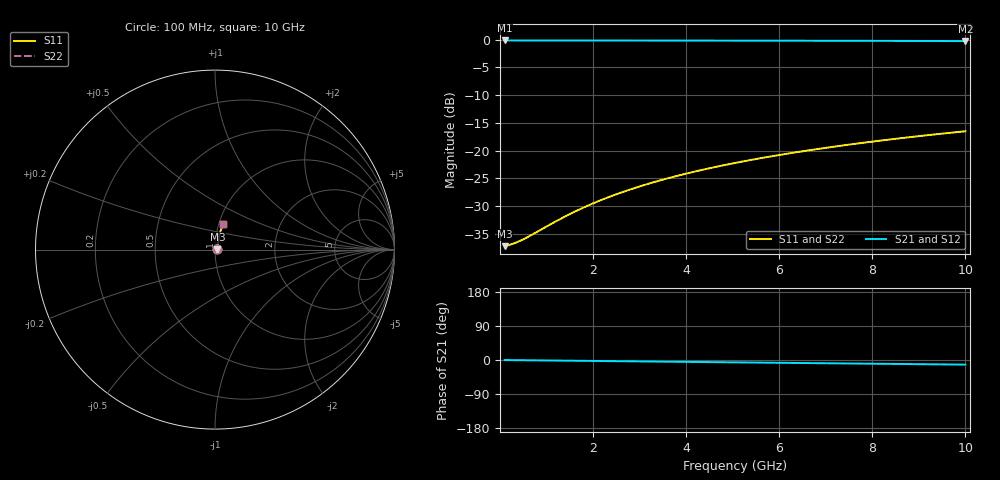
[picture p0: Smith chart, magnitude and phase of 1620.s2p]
# Hz S RI R 50.00
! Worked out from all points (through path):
!   100 points, 100 MHz to 10 GHz, reference 50 ohm
!   highest |S21| = -0.12 dB at 100 MHz (marker M1); lowest = -0.2 dB at 10 GHz (marker M2)
!   group delay of S21, straight-line fit = 3.39 ps
!   lowest |S11| = -37.3 dB at 100 MHz (marker M3), VSWR 1.03, Z = 51.4 + j0.152 ohm
!   |S11| at or under -10 dB: start of sweep to end of sweep
!   |S22| runs from -37.3 to -16.5 dB; largest |S21 - S12| = 0
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1e8  0.0136 0.00148  0.9864 -0.00212  0.9864 -0.00212  0.0136 0.00148
2e8  0.0137 0.00296  0.9863 -0.00423  0.9863 -0.00423  0.0137 0.00296
3e8  0.0138 0.00444  0.9862 -0.00635  0.9862 -0.00635  0.0138 0.00444
5e8  0.0139 0.00739  0.9861 -0.0106  0.9861 -0.0106  0.0139 0.00739
7e8  0.0141 0.0103  0.9859 -0.0148  0.9859 -0.0148  0.0141 0.0103
1.3e9  0.0146 0.0192  0.9853 -0.0275  0.9853 -0.0275  0.0146 0.0192
1.6e9  0.015 0.0236  0.985 -0.0338  0.985 -0.0338  0.015 0.0236
1.8e9  0.0152 0.0266  0.9847 -0.038  0.9847 -0.038  0.0152 0.0266
2.1e9  0.0156 0.031  0.9843 -0.0444  0.9843 -0.0444  0.0156 0.031
2.5e9  0.0163 0.0368  0.9836 -0.0528  0.9836 -0.0528  0.0163 0.0368
2.9e9  0.017 0.0427  0.9828 -0.0612  0.9828 -0.0612  0.017 0.0427
3.4e9  0.0181 0.05  0.9817 -0.0717  0.9817 -0.0717  0.0181 0.05
3.8e9  0.019 0.0558  0.9807 -0.08  0.9807 -0.08  0.019 0.0558
4.2e9  0.0201 0.0616  0.9795 -0.0884  0.9795 -0.0884  0.0201 0.0616
4.6e9  0.0212 0.0674  0.9783 -0.0967  0.9783 -0.0967  0.0212 0.0674
5.1e9  0.0228 0.0745  0.9766 -0.1071  0.9766 -0.1071  0.0228 0.0745
5.9e9  0.0256 0.0859  0.9736 -0.1236  0.9736 -0.1236  0.0256 0.0859
6.7e9  0.0288 0.0972  0.9702 -0.14  0.9702 -0.14  0.0288 0.0972
7.5e9  0.0324 0.1083  0.9664 -0.1563  0.9664 -0.1563  0.0324 0.1083
8.4e9  0.0368 0.1207  0.9617 -0.1744  0.9617 -0.1744  0.0368 0.1207
9.2e9  0.0412 0.1315  0.957 -0.1903  0.957 -0.1903  0.0412 0.1315
1e10  0.0459 0.1421  0.952 -0.2061  0.952 -0.2061  0.0459 0.1421
